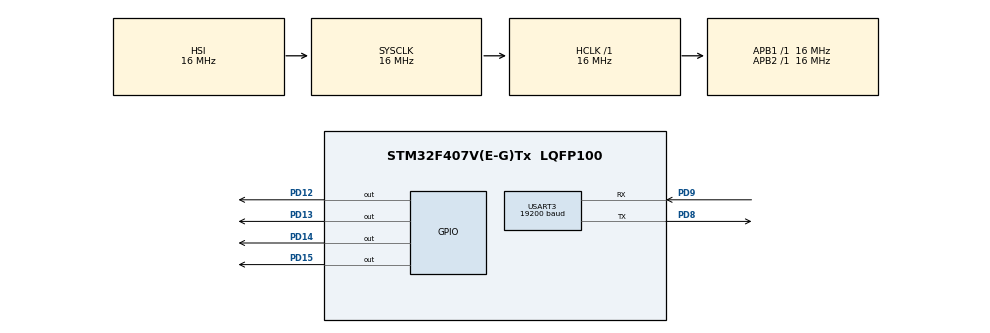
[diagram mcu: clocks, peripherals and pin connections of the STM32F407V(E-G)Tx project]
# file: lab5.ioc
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Mcu.Family=STM32F4
Mcu.Name=STM32F407V(E-G)Tx
Mcu.Package=LQFP100
NVIC.PriorityGroup=NVIC_PRIORITYGROUP_4
PD12.Signal=GPIO_Output
PD13.Signal=GPIO_Output
PD14.Signal=GPIO_Output
PD15.Signal=GPIO_Output
PD8.Mode=Asynchronous
PD8.Signal=USART3_TX
PD9.Mode=Asynchronous
PD9.Signal=USART3_RX
ProjectManager.HeapSize=0x200
ProjectManager.StackSize=0x400
ProjectManager.TargetToolchain=STM32CubeIDE
RCC.AHBFreq_Value=16000000
RCC.APB1Freq_Value=16000000
RCC.APB2Freq_Value=16000000
RCC.CortexFreq_Value=16000000
RCC.HSE_VALUE=25000000
RCC.HSI_VALUE=16000000
RCC.LSE_VALUE=32768
RCC.SYSCLKFreq_VALUE=16000000
RCC.VCOOutputFreq_Value=192000000
USART3.BaudRate=19200
USART3.VirtualMode=VM_ASYNC
board=custom

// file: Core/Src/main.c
/* USER CODE BEGIN Header */
/**
  ******************************************************************************
  * @file           : main.c
  * @brief          : Main program body
  ******************************************************************************
  * @attention
  *
  * Copyright (c) 2026 STMicroelectronics.
  * All rights reserved.
  *
  * This software is licensed under terms that can be found in the LICENSE file
  * in the root directory of this software component.
  * If no LICENSE file comes with this software, it is provided AS-IS.
  *
  ******************************************************************************
  */
/* USER CODE END Header */
#include "main.h"

UART_HandleTypeDef huart3;

/* USER CODE BEGIN PV */
uint8_t rcvBuf[1];
/* USER CODE END PV */

void SystemClock_Config(void);
static void MX_GPIO_Init(void);
static void MX_USART3_UART_Init(void);

int main(void)
{

  /* MCU Configuration--------------------------------------------------------*/

  /* Reset of all peripherals, Initializes the Flash interface and the Systick. */
  HAL_Init();

  /* Configure the system clock */
  SystemClock_Config();

  /* Initialize all configured peripherals */
  MX_GPIO_Init();
  MX_USART3_UART_Init();

  /* Infinite loop */
  /* USER CODE BEGIN WHILE */
  while (1)
  {
	  HAL_StatusTypeDef result = HAL_UART_Receive(&huart3, rcvBuf, 1, 10);

	  if (result == HAL_OK)
	      {
	          switch (rcvBuf[0])
	          {
	              case '1':
	                  HAL_GPIO_TogglePin(GPIOD, GPIO_PIN_12);
	                  HAL_UART_Transmit(&huart3, (uint8_t *)"Green toggled\r\n", 15, 100);
	                  break;
	              case '2':
	                  HAL_GPIO_TogglePin(GPIOD, GPIO_PIN_13);
	                  HAL_UART_Transmit(&huart3, (uint8_t *)"Orange toggled\r\n", 16, 100);
	                  break;
	              case '3':
	                  HAL_GPIO_TogglePin(GPIOD, GPIO_PIN_14);
	                  HAL_UART_Transmit(&huart3, (uint8_t *)"Red toggled\r\n", 13, 100);
	                  break;
	              case '4':
	                  HAL_GPIO_TogglePin(GPIOD, GPIO_PIN_15);
	                  HAL_UART_Transmit(&huart3, (uint8_t *)"Blue toggled\r\n", 14, 100);
	                  break;
	              case '5':
	                  HAL_GPIO_WritePin(GPIOD, GPIO_PIN_12|GPIO_PIN_13|GPIO_PIN_14|GPIO_PIN_15, GPIO_PIN_SET);
	                  HAL_UART_Transmit(&huart3, (uint8_t *)"All ON\r\n", 8, 100);
	                  break;
	              case '6':
	                  HAL_GPIO_WritePin(GPIOD, GPIO_PIN_12|GPIO_PIN_13|GPIO_PIN_14|GPIO_PIN_15, GPIO_PIN_RESET);
	                  HAL_UART_Transmit(&huart3, (uint8_t *)"All OFF\r\n", 9, 100);
	                  break;
	              default:
	                  HAL_UART_Transmit(&huart3, (uint8_t *)"Unknown Cmd\r\n", 13, 100);
	                  break;
	          }
	      }
    /* USER CODE END WHILE */

  }
}

void SystemClock_Config(void)
{
  RCC_OscInitTypeDef RCC_OscInitStruct = {0};
  RCC_ClkInitTypeDef RCC_ClkInitStruct = {0};

  /** Configure the main internal regulator output voltage
  */
  __HAL_RCC_PWR_CLK_ENABLE();
  __HAL_PWR_VOLTAGESCALING_CONFIG(PWR_REGULATOR_VOLTAGE_SCALE1);

  /** Initializes the RCC Oscillators according to the specified parameters
  * in the RCC_OscInitTypeDef structure.
  */
  RCC_OscInitStruct.OscillatorType = RCC_OSCILLATORTYPE_HSI;
  RCC_OscInitStruct.HSIState = RCC_HSI_ON;
  RCC_OscInitStruct.HSICalibrationValue = RCC_HSICALIBRATION_DEFAULT;
  RCC_OscInitStruct.PLL.PLLState = RCC_PLL_NONE;
  if (HAL_RCC_OscConfig(&RCC_OscInitStruct) != HAL_OK)
  {
    Error_Handler();
  }

  /** Initializes the CPU, AHB and APB buses clocks
  */
  RCC_ClkInitStruct.ClockType = RCC_CLOCKTYPE_HCLK|RCC_CLOCKTYPE_SYSCLK
                              |RCC_CLOCKTYPE_PCLK1|RCC_CLOCKTYPE_PCLK2;
  RCC_ClkInitStruct.SYSCLKSource = RCC_SYSCLKSOURCE_HSI;
  RCC_ClkInitStruct.AHBCLKDivider = RCC_SYSCLK_DIV1;
  RCC_ClkInitStruct.APB1CLKDivider = RCC_HCLK_DIV1;
  RCC_ClkInitStruct.APB2CLKDivider = RCC_HCLK_DIV1;

  if (HAL_RCC_ClockConfig(&RCC_ClkInitStruct, FLASH_LATENCY_0) != HAL_OK)
  {
    Error_Handler();
  }
}

static void MX_USART3_UART_Init(void)
{

  huart3.Instance = USART3;
  huart3.Init.BaudRate = 19200;
  huart3.Init.WordLength = UART_WORDLENGTH_8B;
  huart3.Init.StopBits = UART_STOPBITS_1;
  huart3.Init.Parity = UART_PARITY_NONE;
  huart3.Init.Mode = UART_MODE_TX_RX;
  huart3.Init.HwFlowCtl = UART_HWCONTROL_NONE;
  huart3.Init.OverSampling = UART_OVERSAMPLING_16;
  if (HAL_UART_Init(&huart3) != HAL_OK)
  {
    Error_Handler();
  }

}

static void MX_GPIO_Init(void)
{
  GPIO_InitTypeDef GPIO_InitStruct = {0};

  /* GPIO Ports Clock Enable */
  __HAL_RCC_GPIOD_CLK_ENABLE();

  /*Configure GPIO pin Output Level */
  HAL_GPIO_WritePin(GPIOD, GPIO_PIN_12|GPIO_PIN_13|GPIO_PIN_14|GPIO_PIN_15, GPIO_PIN_RESET);

  /*Configure GPIO pins : PD12 PD13 PD14 PD15 */
  GPIO_InitStruct.Pin = GPIO_PIN_12|GPIO_PIN_13|GPIO_PIN_14|GPIO_PIN_15;
  GPIO_InitStruct.Mode = GPIO_MODE_OUTPUT_PP;
  GPIO_InitStruct.Pull = GPIO_NOPULL;
  GPIO_InitStruct.Speed = GPIO_SPEED_FREQ_LOW;
  HAL_GPIO_Init(GPIOD, &GPIO_InitStruct);

}

void Error_Handler(void)
{
  __disable_irq();
  while (1)
  {
  }
}
